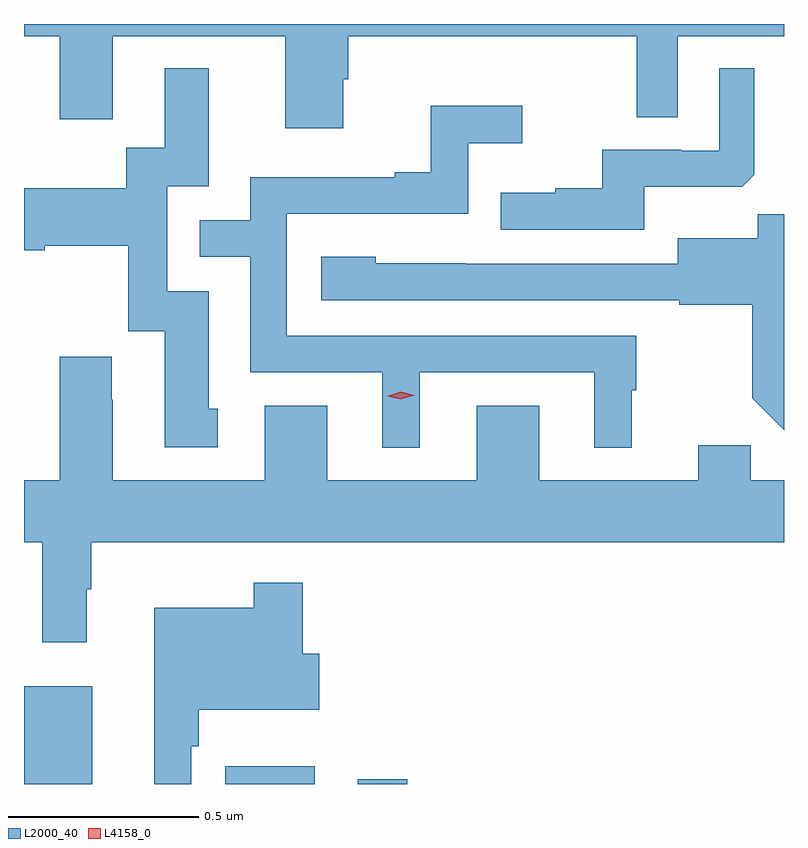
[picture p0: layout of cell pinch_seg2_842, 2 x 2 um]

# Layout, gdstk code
import gdstk
lib = gdstk.Library(unit=1e-6, precision=1e-09)
def R(c, l, rs):  # rectangles x0, y0, x1, y1
    for r in rs: c.add(gdstk.rectangle(r[:2], r[2:], *l))
def P(c, l, *ps):  # polygons
    for p in ps: c.add(gdstk.Polygon(p, *l))
L2000_40 = (2000, 40)
L4158_0 = (4158, 0)

pinch_seg2_842 = lib.new_cell('pinch_seg2_842')
R(pinch_seg2_842, L2000_40, [(681.097,596.384,681.277,596.641), (681.626,596.384,681.862,596.431), (681.975,596.384,682.105,596.396)])
P(pinch_seg2_842, L2000_40, [(681.937,598.239),(681.95,598.239),(681.95,598.352),(682.71,598.352),(682.71,598.138),(682.818,598.138),(682.818,598.352),(683.097,598.352),(683.097,598.384),(681.097,598.384),(681.097,598.352),(681.191,598.352),(681.191,598.134),(681.331,598.134),(681.331,598.352),(681.785,598.352),(681.785,598.11),(681.937,598.11)],
  [(682.729,597.956),(682.987,597.956),(683.019,597.987),(683.019,598.267),(682.926,598.267),(682.926,598.05),(682.826,598.05),(682.826,598.053),(682.619,598.053),(682.619,597.952),(682.495,597.952),(682.495,597.94),(682.351,597.94),(682.351,597.843),(682.729,597.843)],
  [(681.607,597.372),(681.583,597.372),(681.583,597.681),(681.474,597.681),(681.474,597.957),(681.583,597.957),(681.583,598.267),(681.467,598.267),(681.467,598.058),(681.366,598.058),(681.366,597.952),(681.097,597.952),(681.097,597.788),(681.151,597.788),(681.151,597.8),(681.371,597.8),(681.371,597.576),(681.467,597.576),(681.467,597.27),(681.607,597.27)],
  [(682.138,597.468),(682.598,597.468),(682.598,597.269),(682.696,597.269),(682.696,597.42),(682.708,597.42),(682.708,597.564),(681.789,597.564),(681.789,597.885),(682.266,597.885),(682.266,598.07),(682.408,598.07),(682.408,598.169),(682.168,598.169),(682.168,597.994),(682.073,597.994),(682.073,597.981),(681.693,597.981),(681.693,597.867),(681.559,597.867),(681.559,597.771),(681.693,597.771),(681.693,597.468),(682.04,597.468),(682.04,597.269),(682.138,597.269)],
  [(683.097,597.884),(683.028,597.884),(683.028,597.82),(682.817,597.82),(682.817,597.753),(682.259,597.753),(682.259,597.754),(682.023,597.754),(682.023,597.772),(681.879,597.772),(681.879,597.657),(682.821,597.657),(682.821,597.645),(683.013,597.645),(683.013,597.399),(683.097,597.315)],
  [(681.262,596.897),(681.274,596.897),(681.274,597.02),(683.097,597.02),(683.097,597.184),(683.009,597.184),(683.009,597.275),(682.871,597.275),(682.871,597.184),(682.453,597.184),(682.453,597.379),(682.289,597.379),(682.289,597.184),(681.895,597.184),(681.895,597.379),(681.731,597.379),(681.731,597.184),(681.331,597.184),(681.331,597.395),(681.328,597.395),(681.328,597.508),(681.191,597.508),(681.191,597.184),(681.097,597.184),(681.097,597.02),(681.145,597.02),(681.145,596.757),(681.262,596.757)],
  [(681.537,596.483),(681.557,596.483),(681.557,596.579),(681.874,596.579),(681.874,596.727),(681.83,596.727),(681.83,596.914),(681.702,596.914),(681.702,596.848),(681.44,596.848),(681.44,596.384),(681.537,596.384)])
P(pinch_seg2_842, L4158_0, [(682.089,597.396),(682.053,597.404),(682.053,597.404),(682.053,597.405),(682.089,597.416),(682.124,597.407),(682.125,597.407),(682.124,597.407)])

lib.write_gds('pinch_seg2_842.gds')
